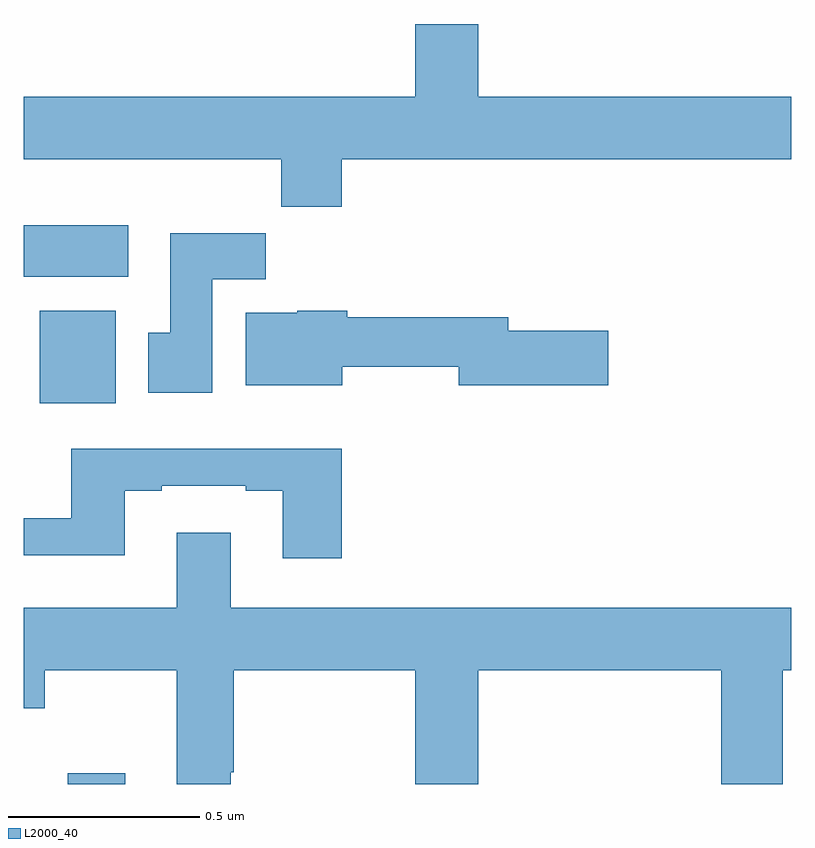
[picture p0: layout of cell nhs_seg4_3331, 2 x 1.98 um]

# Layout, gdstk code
import gdstk
lib = gdstk.Library(unit=1e-6, precision=1e-09)
def R(c, l, rs):  # rectangles x0, y0, x1, y1
    for r in rs: c.add(gdstk.rectangle(r[:2], r[2:], *l))
def P(c, l, *ps):  # polygons
    for p in ps: c.add(gdstk.Polygon(p, *l))
L2000_40 = (2000, 40)

nhs_seg4_3331 = lib.new_cell('nhs_seg4_3331')
R(nhs_seg4_3331, L2000_40, [(152.115,753.9,152.264,753.928), (152.042,754.892,152.239,755.134), (152,755.222,152.272,755.356)])
P(nhs_seg4_3331, L2000_40, [(152.828,755.528),(154,755.528),(154,755.692),(153.184,755.692),(153.184,755.881),(153.02,755.881),(153.02,755.692),(152,755.692),(152,755.528),(152.671,755.528),(152.671,755.404),(152.828,755.404)],
  [(152.491,755.216),(152.63,755.216),(152.63,755.335),(152.381,755.335),(152.381,755.076),(152.324,755.076),(152.324,754.92),(152.491,754.92)],
  [(152.83,754.987),(153.134,754.987),(153.134,754.94),(153.523,754.94),(153.523,755.082),(153.262,755.082),(153.262,755.116),(152.843,755.116),(152.843,755.134),(152.712,755.134),(152.712,755.128),(152.579,755.128),(152.579,754.94),(152.83,754.94)],
  [(152.828,754.774),(152.123,754.774),(152.123,754.593),(152,754.593),(152,754.496),(152.263,754.496),(152.263,754.665),(152.359,754.665),(152.359,754.677),(152.579,754.677),(152.579,754.665),(152.675,754.665),(152.675,754.488),(152.828,754.488)],
  [(152.539,753.931),(152.547,753.931),(152.547,754.196),(153.02,754.196),(153.02,753.9),(153.184,753.9),(153.184,754.196),(153.818,754.196),(153.818,753.9),(153.978,753.9),(153.978,754.196),(154,754.196),(154,754.36),(152.539,754.36),(152.539,754.555),(152.399,754.555),(152.399,754.36),(152,754.36),(152,754.097),(152.055,754.097),(152.055,754.196),(152.399,754.196),(152.399,753.9),(152.539,753.9)])

lib.write_gds('nhs_seg4_3331.gds')
